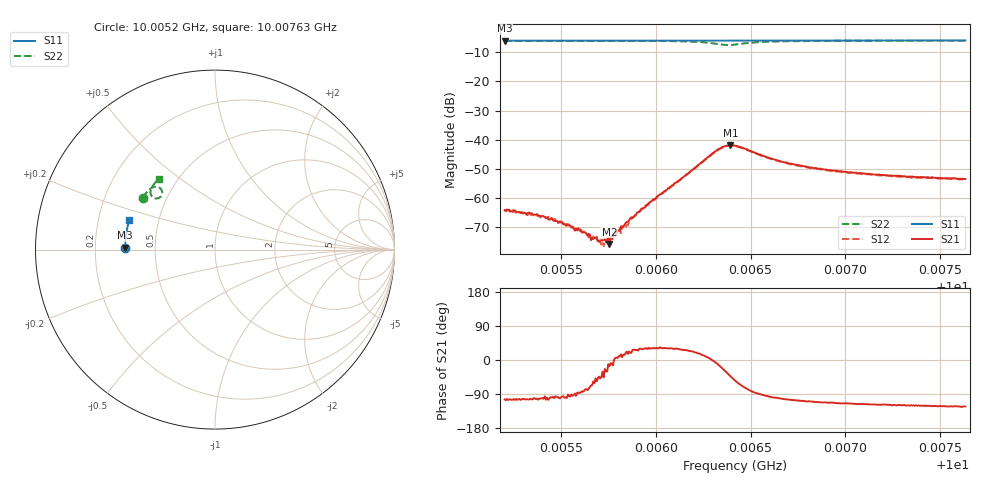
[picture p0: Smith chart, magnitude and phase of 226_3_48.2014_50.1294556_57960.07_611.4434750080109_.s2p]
#  HZ  S  RI  R  50.00
! Rohde & Schwarz Vector Network Analyzer
! Rohde-Schwarz,ZNB20-2Port,1311601062101988,3.16
! Created: UTC 3/20/2024, 11:46:10 AM
! freq[Hz]  re:S11  im:S11  re:S21  im:S21  re:S12  im:S12  re:S22  im:S22
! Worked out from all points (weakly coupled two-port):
!   401 points, 10.0052 GHz to 10.00763 GHz, reference 50 ohm
!   highest |S21| = -41.84 dB at 10.00639 GHz (marker M1); lowest = -75.7 dB at 10.00576 GHz (marker M2)
!   lowest |S11| = -6.0 dB at 10.0052 GHz (marker M3), VSWR 3.00, Z = 16.7 + j0.483 ohm
!   |S11| at or under -10 dB: nowhere
!   |S22| runs from -7.5 to -6.0 dB; largest |S21 - S12| = 0.00044
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1.0005203e10  -0.4999 0.0109  -0.000154 -0.000602  -0.000153 -0.000626  -0.4017 0.29
1.0005404e10  -0.4999 0.0239  -9.24e-05 -0.000489  -6.41e-05 -0.00045  -0.3935 0.3019
1.0005446e10  -0.4998 0.0266  -6.41e-05 -0.000442  -4.4e-05 -0.000424  -0.3918 0.3045
1.0005549e10  -0.4997 0.0334  -3.98e-05 -0.000334  -1.53e-05 -0.000339  -0.3871 0.3106
1.0005586e10  -0.4996 0.0357  1.59e-05 -0.000287  1.72e-05 -0.000281  -0.3855 0.3128
1.000561e10  -0.4994 0.0372  3.25e-05 -0.000258  2.18e-05 -0.000275  -0.3843 0.3143
1.0005671e10  -0.4993 0.0412  0.00011 -0.000166  0.000111 -0.00019  -0.3813 0.318
1.0005713e10  -0.4992 0.044  0.000134 -0.000135  0.000113 -0.000105  -0.3791 0.3207
1.0005756e10  -0.4989 0.0468  0.000157 -4.7e-05  0.000183 -6.34e-06  -0.3766 0.3233
1.0005774e10  -0.4988 0.0479  0.000207 -5.35e-05  0.000193 -3.64e-05  -0.3756 0.3245
1.0005798e10  -0.4987 0.0494  0.000272 2.38e-05  0.000279 3.34e-05  -0.3741 0.3262
1.0005853e10  -0.4986 0.053  0.000383 0.00011  0.000313 0.000139  -0.3707 0.3298
1.0005883e10  -0.4982 0.055  0.000423 0.000219  0.000414 0.000237  -0.3687 0.3318
1.0005938e10  -0.498 0.0585  0.000593 0.000347  0.000571 0.000367  -0.3645 0.3354
1.0006017e10  -0.4977 0.0636  0.000958 0.00058  0.00089 0.000608  -0.3575 0.3408
1.0006315e10  -0.4947 0.0828  0.00633 -0.000717  0.0062 -0.000375  -0.297 0.3309
1.0006394e10  -0.494 0.0874  0.00594 -0.0055  0.00605 -0.0051  -0.3083 0.2903
1.0006418e10  -0.4938 0.0888  0.00463 -0.00642  0.00489 -0.00608  -0.3215 0.2851
1.0006631e10  -0.4923 0.1023  -0.000763 -0.00449  -0.00055 -0.00441  -0.3594 0.326
1.0006825e10  -0.49 0.1147  -0.00113 -0.00315  -0.000979 -0.00311  -0.3512 0.3486
1.0007232e10  -0.4842 0.1406  -0.00116 -0.00214  -0.00103 -0.00218  -0.3302 0.3758
1.0007633e10  -0.4772 0.1654  -0.00116 -0.00178  -0.00107 -0.00179  -0.3097 0.3957
